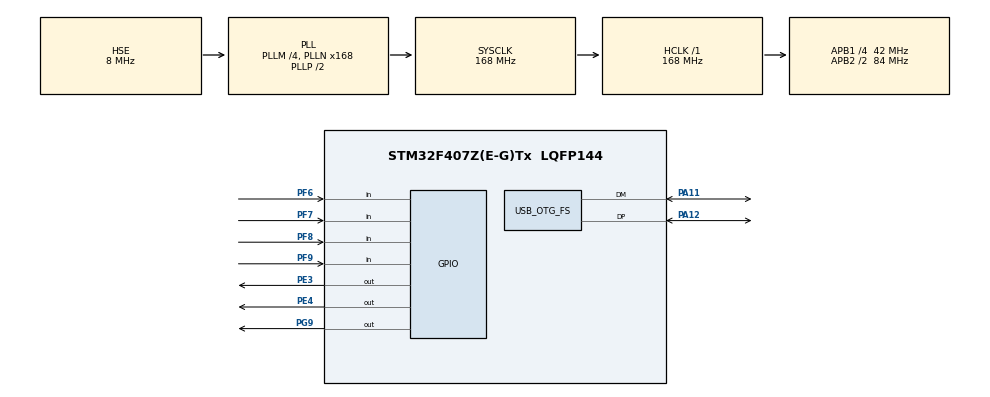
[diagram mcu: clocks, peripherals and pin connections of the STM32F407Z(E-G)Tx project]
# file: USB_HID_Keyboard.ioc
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Mcu.Family=STM32F4
Mcu.Name=STM32F407Z(E-G)Tx
Mcu.Package=LQFP144
NVIC.OTG_FS_IRQn=true\:0\:0\:false\:false\:true\:false\:true\:true
NVIC.PriorityGroup=NVIC_PRIORITYGROUP_4
PA11.Mode=Device_Only
PA11.Signal=USB_OTG_FS_DM
PA12.Mode=Device_Only
PA12.Signal=USB_OTG_FS_DP
PA13.Mode=Serial_Wire
PA13.Signal=SYS_JTMS-SWDIO
PA14.Mode=Serial_Wire
PA14.Signal=SYS_JTCK-SWCLK
PE3.GPIO_PuPd=GPIO_NOPULL
PE3.Signal=GPIO_Output
PE4.GPIO_PuPd=GPIO_NOPULL
PE4.Signal=GPIO_Output
PF6.GPIO_PuPd=GPIO_PULLUP
PF6.Signal=GPIO_Input
PF7.GPIO_PuPd=GPIO_PULLUP
PF7.Signal=GPIO_Input
PF8.GPIO_PuPd=GPIO_PULLUP
PF8.Signal=GPIO_Input
PF9.GPIO_PuPd=GPIO_PULLUP
PF9.Signal=GPIO_Input
PG9.GPIO_PuPd=GPIO_NOPULL
PG9.Signal=GPIO_Output
PH0-OSC_IN.Mode=HSE-External-Oscillator
PH0-OSC_IN.Signal=RCC_OSC_IN
PH1-OSC_OUT.Mode=HSE-External-Oscillator
PH1-OSC_OUT.Signal=RCC_OSC_OUT
ProjectManager.HeapSize=0x400
ProjectManager.StackSize=0x1000
ProjectManager.TargetToolchain=MDK-ARM V5.32
RCC.48MHZClocksFreq_Value=48000000
RCC.AHBFreq_Value=168000000
RCC.APB1CLKDivider=RCC_HCLK_DIV4
RCC.APB1Freq_Value=42000000
RCC.APB1TimFreq_Value=84000000
RCC.APB2CLKDivider=RCC_HCLK_DIV2
RCC.APB2Freq_Value=84000000
RCC.APB2TimFreq_Value=168000000
RCC.CortexFreq_Value=168000000
RCC.HCLKFreq_Value=168000000
RCC.HSE_VALUE=8000000
RCC.HSI_VALUE=16000000
RCC.LSE_VALUE=32768
RCC.PLLM=4
RCC.PLLN=168
RCC.PLLQ=7
RCC.SYSCLKFreq_VALUE=168000000
RCC.SYSCLKSource=RCC_SYSCLKSOURCE_PLLCLK
RCC.VCOOutputFreq_Value=336000000
USB_DEVICE.CLASS_NAME_FS=HID
USB_DEVICE.VirtualMode-HID_FS=Hid
USB_DEVICE.VirtualModeFS=Hid_FS
USB_OTG_FS.Sof_enable=ENABLE
USB_OTG_FS.VirtualMode=Device_Only
VP_USB_DEVICE_VS_USB_DEVICE_HID_FS.Mode=HID_FS
board=custom

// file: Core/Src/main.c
/* USER CODE BEGIN Header */
/**
  ******************************************************************************
  * @file           : main.c
  * @brief          : Main program body
  ******************************************************************************
  * @attention
  *
  * Copyright (c) 2025 STMicroelectronics.
  * All rights reserved.
  *
  * This software is licensed under terms that can be found in the LICENSE file
  * in the root directory of this software component.
  * If no LICENSE file comes with this software, it is provided AS-IS.
  *
  ******************************************************************************
  */
/* USER CODE END Header */
#include "main.h"
#include "usb_device.h"
#include "gpio.h"

/* USER CODE BEGIN Includes */
#include "usbd_hid.h"
/* USER CODE END Includes */

/* USER CODE BEGIN PV */

/*
 * buffer[0] - bit0: Left CTRL
 *           -bit1: Left SHIFT
 *           -bit2: Left ALT
 *           -bit3: Left GUI
 *           -bit4: Right CTRL
 *           -bit5: Right SHIFT
 *           -bit6: Right ALT
 *           -bit7: Right GUI
 * buffer[1] - Padding = Always 0x00
 * buffer[2] - Key 1
 * buffer[3] - Key 2
 * buffer[4] - Key 3
 * buffer[5] - Key 4
 * buffer[6] - Key 5
 * buffer[7] - Key 6
 */
uint8_t buffer[8] = {0x00, 0x00, 0x00, 0x00, 0x00, 0x00, 0x00, 0x00};

extern USBD_HandleTypeDef hUsbDeviceFS;

/* USER CODE END PV */

void SystemClock_Config(void);
/* USER CODE BEGIN PFP */

static uint8_t getKey_state(void);

/* USER CODE END PFP */

int main(void)
{

  /* USER CODE BEGIN 1 */

  uint8_t i = 0;

  /* USER CODE END 1 */

  /* MCU Configuration--------------------------------------------------------*/

  /* Reset of all peripherals, Initializes the Flash interface and the Systick. */
  HAL_Init();

  /* Configure the system clock */
  SystemClock_Config();

  /* Initialize all configured peripherals */
  MX_GPIO_Init();
  MX_USB_DEVICE_Init();
  /* USER CODE BEGIN 2 */

  HAL_Delay(1000);

  /* USER CODE END 2 */

  /* Infinite loop */
  /* USER CODE BEGIN WHILE */
  while (1)
  {

    switch(getKey_state())
    {
			case 1:
				for(i=0; i<5; i++)
				{
					HAL_GPIO_WritePin(GPIOE, GPIO_PIN_3, GPIO_PIN_RESET);
					buffer[0] = 0x00; //shift
					buffer[2] = 0x04; //a
					USBD_HID_SendReport(&hUsbDeviceFS, buffer, 8); //send
					HAL_Delay(200); //delay

					buffer[0] = 0x00;
					buffer[2] = 0x00;
					USBD_HID_SendReport(&hUsbDeviceFS, buffer, 8);
					HAL_GPIO_WritePin(GPIOE, GPIO_PIN_3, GPIO_PIN_SET);
					HAL_Delay(200);
				}
			break;
			case 2:
				for(i=0; i<5; i++)
				{
					HAL_GPIO_WritePin(GPIOE, GPIO_PIN_4, GPIO_PIN_RESET);
					buffer[0] = 0x00; //shift
					buffer[2] = 0x05; //a
					USBD_HID_SendReport(&hUsbDeviceFS, buffer, 8); //send
					HAL_Delay(200); //delay

					buffer[0] = 0x00;
					buffer[2] = 0x00;
					USBD_HID_SendReport(&hUsbDeviceFS, buffer, 8);
					HAL_GPIO_WritePin(GPIOE, GPIO_PIN_4, GPIO_PIN_SET);
					HAL_Delay(200);
				}
			break;
			case 3:
				for(i=0; i<5; i++)
				{
					HAL_GPIO_WritePin(GPIOG, GPIO_PIN_9, GPIO_PIN_RESET);
					buffer[0] = 0x00; //shift
					buffer[2] = 0x06; //a
					USBD_HID_SendReport(&hUsbDeviceFS, buffer, 8); //send
					HAL_Delay(200); //delay

					buffer[0] = 0x00;
					buffer[2] = 0x00;
					USBD_HID_SendReport(&hUsbDeviceFS, buffer, 8);
					HAL_GPIO_WritePin(GPIOG, GPIO_PIN_9, GPIO_PIN_SET);
					HAL_Delay(200);
				}
			break;
			case 4:
				for(i=0; i<5; i++)
				{
					HAL_GPIO_WritePin(GPIOE, GPIO_PIN_4, GPIO_PIN_RESET);
					HAL_GPIO_WritePin(GPIOE, GPIO_PIN_3, GPIO_PIN_RESET);
					HAL_GPIO_WritePin(GPIOG, GPIO_PIN_9, GPIO_PIN_RESET);
					buffer[0] = 0x00; //shift
					buffer[2] = 0x07; //a
					USBD_HID_SendReport(&hUsbDeviceFS, buffer, 8); //send
					HAL_Delay(200); //delay

					buffer[0] = 0x00;
					buffer[2] = 0x00;
					USBD_HID_SendReport(&hUsbDeviceFS, buffer, 8);
					HAL_GPIO_WritePin(GPIOE, GPIO_PIN_4, GPIO_PIN_SET);
					HAL_GPIO_WritePin(GPIOE, GPIO_PIN_3, GPIO_PIN_SET);
					HAL_GPIO_WritePin(GPIOG, GPIO_PIN_9, GPIO_PIN_SET);
					HAL_Delay(200);
				}
			break;
    }

    /* USER CODE END WHILE */

  }
}

void SystemClock_Config(void)
{
  RCC_OscInitTypeDef RCC_OscInitStruct = {0};
  RCC_ClkInitTypeDef RCC_ClkInitStruct = {0};

  /** Configure the main internal regulator output voltage
  */
  __HAL_RCC_PWR_CLK_ENABLE();
  __HAL_PWR_VOLTAGESCALING_CONFIG(PWR_REGULATOR_VOLTAGE_SCALE1);

  /** Initializes the RCC Oscillators according to the specified parameters
  * in the RCC_OscInitTypeDef structure.
  */
  RCC_OscInitStruct.OscillatorType = RCC_OSCILLATORTYPE_HSE;
  RCC_OscInitStruct.HSEState = RCC_HSE_ON;
  RCC_OscInitStruct.PLL.PLLState = RCC_PLL_ON;
  RCC_OscInitStruct.PLL.PLLSource = RCC_PLLSOURCE_HSE;
  RCC_OscInitStruct.PLL.PLLM = 4;
  RCC_OscInitStruct.PLL.PLLN = 168;
  RCC_OscInitStruct.PLL.PLLP = RCC_PLLP_DIV2;
  RCC_OscInitStruct.PLL.PLLQ = 7;
  if (HAL_RCC_OscConfig(&RCC_OscInitStruct) != HAL_OK)
  {
    Error_Handler();
  }

  /** Initializes the CPU, AHB and APB buses clocks
  */
  RCC_ClkInitStruct.ClockType = RCC_CLOCKTYPE_HCLK|RCC_CLOCKTYPE_SYSCLK
                                |RCC_CLOCKTYPE_PCLK1|RCC_CLOCKTYPE_PCLK2;
  RCC_ClkInitStruct.SYSCLKSource = RCC_SYSCLKSOURCE_PLLCLK;
  RCC_ClkInitStruct.AHBCLKDivider = RCC_SYSCLK_DIV1;
  RCC_ClkInitStruct.APB1CLKDivider = RCC_HCLK_DIV4;
  RCC_ClkInitStruct.APB2CLKDivider = RCC_HCLK_DIV2;

  if (HAL_RCC_ClockConfig(&RCC_ClkInitStruct, FLASH_LATENCY_5) != HAL_OK)
  {
    Error_Handler();
  }
}

/* USER CODE BEGIN 4 */

uint8_t getKey_state(void)
{
  if(!HAL_GPIO_ReadPin(GPIOF, GPIO_PIN_6))
  {
    HAL_Delay(20);
    if(!HAL_GPIO_ReadPin(GPIOF, GPIO_PIN_6))
      return 1;
  }
  if(!HAL_GPIO_ReadPin(GPIOF, GPIO_PIN_7))
  {
    HAL_Delay(20);
    if(!HAL_GPIO_ReadPin(GPIOF, GPIO_PIN_7))
      return 2;
  }
  if(!HAL_GPIO_ReadPin(GPIOF, GPIO_PIN_8))
  {
    HAL_Delay(20);
    if(!HAL_GPIO_ReadPin(GPIOF, GPIO_PIN_8))
      return 3;
  }
  if(!HAL_GPIO_ReadPin(GPIOF, GPIO_PIN_9))
  {
    HAL_Delay(20);
    if(!HAL_GPIO_ReadPin(GPIOF, GPIO_PIN_9))
      return 4;
  }
  return 0;
}

/* USER CODE END 4 */

void Error_Handler(void)
{
  __disable_irq();
  while (1)
  {
  }
}
